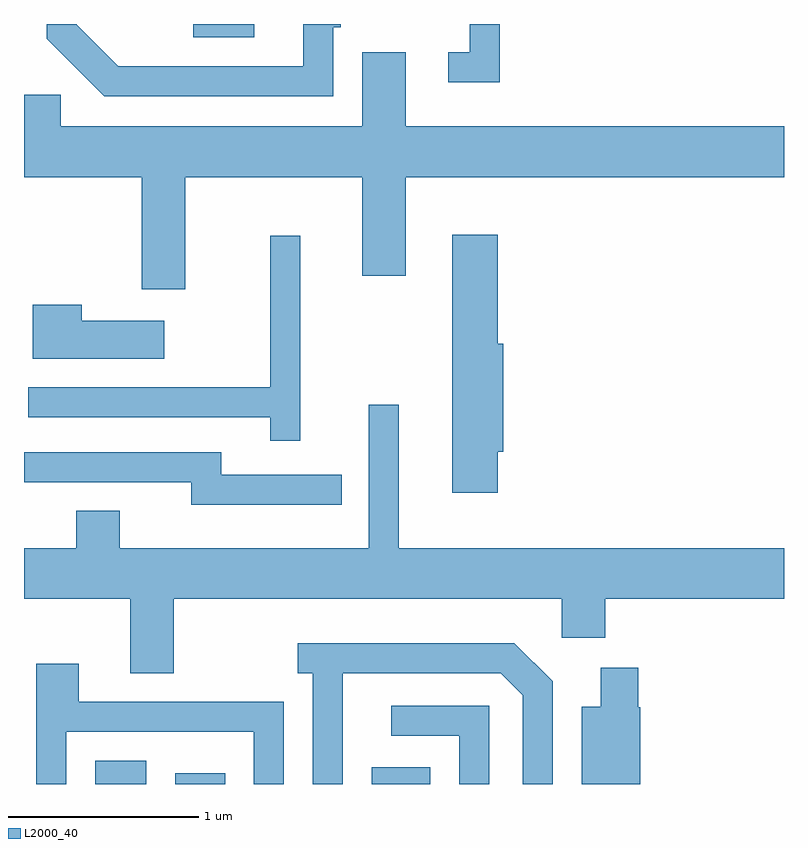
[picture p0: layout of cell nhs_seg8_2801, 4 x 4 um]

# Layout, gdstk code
import gdstk
lib = gdstk.Library(unit=1e-6, precision=1e-09)
def R(c, l, rs):  # rectangles x0, y0, x1, y1
    for r in rs: c.add(gdstk.rectangle(r[:2], r[2:], *l))
def P(c, l, *ps):  # polygons
    for p in ps: c.add(gdstk.Polygon(p, *l))
L2000_40 = (2000, 40)

nhs_seg8_2801 = lib.new_cell('nhs_seg8_2801')
R(nhs_seg8_2801, L2000_40, [(269.986,1824.342,270.254,1824.464), (270.406,1824.342,270.669,1824.399), (271.441,1824.342,271.749,1824.429), (270.501,1828.271,270.823,1828.342)])
P(nhs_seg8_2801, L2000_40, [(272.114,1828.342),(271.956,1828.342),(271.956,1828.194),(271.843,1828.194),(271.843,1828.036),(272.114,1828.036)],
  [(271.239,1828.326),(271.279,1828.326),(271.279,1828.342),(271.081,1828.342),(271.081,1828.119),(270.107,1828.119),(269.889,1828.337),(269.889,1828.342),(269.731,1828.342),(269.731,1828.264),(270.034,1827.961),(271.239,1827.961)],
  [(270.459,1827.536),(271.391,1827.536),(271.391,1827.016),(271.619,1827.016),(271.619,1827.536),(273.611,1827.536),(273.611,1827.804),(271.619,1827.804),(271.619,1828.194),(271.391,1828.194),(271.391,1827.804),(269.804,1827.804),(269.804,1827.969),(269.611,1827.969),(269.611,1827.536),(270.231,1827.536),(270.231,1826.946),(270.459,1826.946)],
  [(272.104,1826.091),(272.134,1826.091),(272.134,1826.659),(272.104,1826.659),(272.104,1827.234),(271.866,1827.234),(271.866,1825.876),(272.104,1825.876)],
  [(271.064,1827.228),(270.906,1827.228),(270.906,1826.429),(269.633,1826.429),(269.633,1826.271),(270.906,1826.271),(270.906,1826.148),(271.064,1826.148)],
  [(270.349,1826.779),(269.914,1826.779),(269.914,1826.864),(269.656,1826.864),(269.656,1826.581),(270.349,1826.581)],
  [(270.399,1825.316),(272.441,1825.316),(272.441,1825.111),(272.669,1825.111),(272.669,1825.316),(273.611,1825.316),(273.611,1825.584),(271.584,1825.584),(271.584,1826.338),(271.426,1826.338),(271.426,1825.584),(270.114,1825.584),(270.114,1825.779),(269.886,1825.779),(269.886,1825.584),(269.611,1825.584),(269.611,1825.316),(270.171,1825.316),(270.171,1824.926),(270.399,1824.926)],
  [(271.283,1825.969),(270.649,1825.969),(270.649,1826.089),(269.611,1826.089),(269.611,1825.931),(270.491,1825.931),(270.491,1825.811),(271.283,1825.811)],
  [(271.289,1824.926),(272.119,1824.926),(272.236,1824.809),(272.236,1824.342),(272.394,1824.342),(272.394,1824.882),(272.192,1825.084),(271.053,1825.084),(271.053,1824.926),(271.131,1824.926),(271.131,1824.342),(271.289,1824.342)],
  [(269.834,1824.616),(270.821,1824.616),(270.821,1824.342),(270.979,1824.342),(270.979,1824.774),(269.899,1824.774),(269.899,1824.974),(269.676,1824.974),(269.676,1824.342),(269.834,1824.342)],
  [(272.854,1824.745),(272.844,1824.745),(272.844,1824.954),(272.646,1824.954),(272.646,1824.749),(272.546,1824.749),(272.546,1824.342),(272.854,1824.342)],
  [(272.059,1824.754),(271.543,1824.754),(271.543,1824.596),(271.901,1824.596),(271.901,1824.342),(272.059,1824.342)])

lib.write_gds('nhs_seg8_2801.gds')
